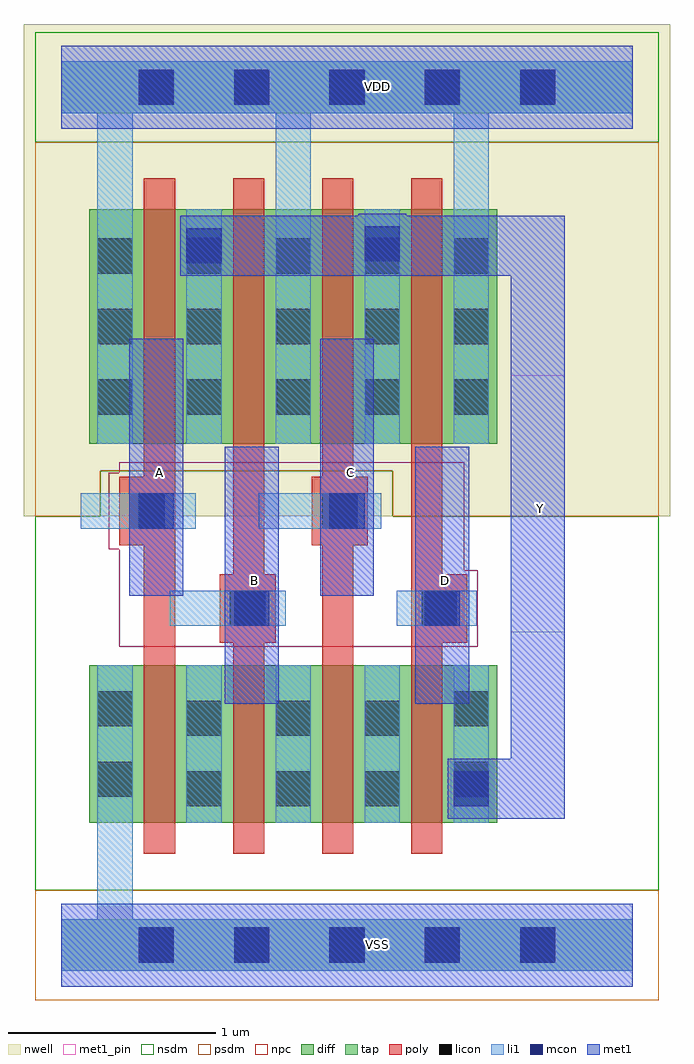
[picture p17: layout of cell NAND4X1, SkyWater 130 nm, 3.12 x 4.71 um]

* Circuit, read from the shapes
.subckt NAND4X1 A B C D VDD VSS Y
XM1 n1 A VSS VSS sky130_fd_pr__nfet_01v8 w=0.76 l=0.15
XM2 n2 B n1 VSS sky130_fd_pr__nfet_01v8 w=0.76 l=0.15
XM3 n3 C n2 VSS sky130_fd_pr__nfet_01v8 w=0.76 l=0.15
XM4 Y D n3 VSS sky130_fd_pr__nfet_01v8 w=0.76 l=0.15
XM5 Y A VDD VDD sky130_fd_pr__pfet_01v8 w=1.13 l=0.15
XM6 VDD B Y VDD sky130_fd_pr__pfet_01v8 w=1.13 l=0.15
XM7 Y C VDD VDD sky130_fd_pr__pfet_01v8 w=1.13 l=0.15
XM8 VDD D Y VDD sky130_fd_pr__pfet_01v8 w=1.13 l=0.15
.ends

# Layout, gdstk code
from math import pi, radians
import gdstk
lib = gdstk.Library(unit=1e-6, precision=1e-09)
def R(c, l, rs):  # rectangles x0, y0, x1, y1
    for r in rs: c.add(gdstk.rectangle(r[:2], r[2:], *l))
def A(c, l, x, y, w, h, nx, ny, dx, dy):  # array of equal rectangles
    R(c, l, [(x+i*dx, y+j*dy, x+i*dx+w, y+j*dy+h) for i in range(nx) for j in range(ny)])
def P(c, l, *ps):  # polygons
    for p in ps: c.add(gdstk.Polygon(p, *l))
nwell = (64, 20)
diff = (65, 20)
tap = (65, 44)
poly = (66, 20)
licon = (66, 44)
li1 = (67, 20)
mcon = (67, 44)
met1_pin = (68, 16)
met1 = (68, 20)
nsdm = (93, 44)
psdm = (94, 20)
npc = (95, 20)

pyl1con_c_cdns_751554744 = lib.new_cell('PYL1CON_C_CDNS_751554744751')
R(pyl1con_c_cdns_751554744, poly, [(-0.135,-0.165,0.135,0.165)])
R(pyl1con_c_cdns_751554744, licon, [(-0.085,-0.085,0.085,0.085)])
R(pyl1con_c_cdns_751554744, npc, [(-0.185,-0.185,0.185,0.185)])

l1m1_c_cdns_751554744750 = lib.new_cell('L1M1_C_CDNS_751554744750$$8')
R(l1m1_c_cdns_751554744750, li1, [(-0.085,-0.165,0.085,0.165)])
R(l1m1_c_cdns_751554744750, mcon, [(-0.085,-0.085,0.085,0.085)])
R(l1m1_c_cdns_751554744750, met1, [(-0.115,-0.145,0.115,0.145)])

c_l1m1_c_cdns_751554744750 = lib.new_cell('L1M1_C_CDNS_751554744750$$9')
R(c_l1m1_c_cdns_751554744750, li1, [(-0.165,-0.085,0.165,0.085)])
R(c_l1m1_c_cdns_751554744750, mcon, [(-0.085,-0.085,0.085,0.085)])
R(c_l1m1_c_cdns_751554744750, met1, [(-0.115,-0.145,0.115,0.145)])

nand4x1 = lib.new_cell('NAND4X1')
R(nand4x1, nwell, [(-0.18,2.07,2.94,4.445)])
R(nand4x1, diff, [(0.135,0.59,2.105,1.35), (0.135,2.42,2.105,3.55)])
A(nand4x1, poly, 0.4, 0.44, 0.15, 3.26, 4, 1, 0.43, 0)
A(nand4x1, licon, 0.375, -0.085, 0.17, 0.17, 5, 2, 0.46, 4.14)
A(nand4x1, licon, 0.605, 0.67, 0.17, 0.17, 3, 2, 0.43, 0.34)
A(nand4x1, licon, 0.175, 2.56, 0.17, 0.17, 5, 3, 0.43, 0.34)
R(nand4x1, licon, [(0.175,0.715,0.345,0.885), (1.895,0.715,2.065,0.885), (0.175,1.055,0.345,1.225), (1.895,1.055,2.065,1.225)])
A(nand4x1, li1, 0.605, 0.59, 0.17, 0.76, 4, 1, 0.43, 0)
R(nand4x1, li1, [(0.605,2.42,0.775,3.55), (1.465,2.42,1.635,3.55)])
P(nand4x1, li1, [(2.76,0.125),(0.345,0.125),(0.345,1.35),(0.175,1.35),(0.175,0.125),(0,0.125),(0,-0.125),(2.76,-0.125)],
  [(2.76,4.265),(0,4.265),(0,4.015),(0.175,4.015),(0.175,2.42),(0.345,2.42),(0.345,4.015),(1.035,4.015),(1.035,2.42),(1.205,2.42),(1.205,4.015),(1.895,4.015),(1.895,2.42),(2.065,2.42),(2.065,4.015),(2.76,4.015)])
A(nand4x1, mcon, 0.375, -0.085, 0.17, 0.17, 5, 2, 0.46, 4.14)
R(nand4x1, met1_pin, [(0.79,1.165,1.05,2.405), (1.71,1.165,1.97,2.405), (2.17,1.51,2.43,2.75), (0.33,1.685,0.59,2.925), (1.25,1.685,1.51,2.925)])
P(nand4x1, met1, [(2.43,3.52),(0.69,3.52),(0.69,3.23),(2.17,3.23),(2.17,0.9),(1.98,0.9),(1.98,0.61),(2.43,0.61)])
R(nand4x1, nsdm, [(-0.125,3.875,2.885,4.405)])
P(nand4x1, nsdm, [(2.885,2.07),(1.6,2.07),(1.6,2.29),(0.19,2.29),(0.19,2.07),(-0.125,2.07),(-0.125,0.265),(2.885,0.265)])
R(nand4x1, psdm, [(-0.125,-0.265,2.885,0.265)])
P(nand4x1, psdm, [(2.885,3.875),(-0.125,3.875),(-0.125,2.07),(0.19,2.07),(0.19,2.29),(1.6,2.29),(1.6,2.07),(2.885,2.07)])
R(nand4x1, npc, [(0.28,1.44,1.945,2.33)])
nand4x1.add(gdstk.FlexPath([(0.095,2.095),(0.65,2.095)], 0.17, ends="flush", simple_path=True, layer=67, datatype=20))  # li1
nand4x1.add(gdstk.FlexPath([(0.955,2.095),(1.51,2.095)], 0.17, ends="flush", simple_path=True, layer=67, datatype=20))  # li1
nand4x1.add(gdstk.FlexPath([(0.525,1.625),(1.08,1.625)], 0.17, ends="flush", simple_path=True, layer=67, datatype=20))  # li1
nand4x1.add(gdstk.FlexPath([(1.62,1.625),(1.94,1.625)], 0.17, ends="flush", simple_path=True, layer=67, datatype=20))  # li1
nand4x1.add(gdstk.FlexPath([(0,4.14),(2.76,4.14)], 0.25, ends="flush", simple_path=True, layer=65, datatype=44))  # tap
nand4x1.add(gdstk.FlexPath([(0,0),(2.76,0)], 0.25, ends="flush", simple_path=True, layer=65, datatype=44))  # tap
nand4x1.add(gdstk.FlexPath([(1.84,1.165),(1.84,2.405)], 0.26, ends="flush", simple_path=True, layer=68, datatype=20))  # met1
nand4x1.add(gdstk.FlexPath([(0.46,1.685),(0.46,2.925)], 0.26, ends="flush", simple_path=True, layer=68, datatype=20))  # met1
nand4x1.add(gdstk.FlexPath([(0.92,1.165),(0.92,2.405)], 0.26, ends="flush", simple_path=True, layer=68, datatype=20))  # met1
nand4x1.add(gdstk.FlexPath([(1.38,1.685),(1.38,2.925)], 0.26, ends="flush", simple_path=True, layer=68, datatype=20))  # met1
nand4x1.add(gdstk.FlexPath([(0,4.14),(2.76,4.14)], 0.4, ends="flush", simple_path=True, layer=68, datatype=20))  # met1
nand4x1.add(gdstk.FlexPath([(0,0),(2.76,0)], 0.4, ends="flush", simple_path=True, layer=68, datatype=20))  # met1
nand4x1.add(gdstk.FlexPath([(0,0),(2.76,0)], 0.4, ends="flush", simple_path=True, layer=68, datatype=16))  # met1_pin
nand4x1.add(gdstk.FlexPath([(0,4.14),(2.76,4.14)], 0.4, ends="flush", simple_path=True, layer=68, datatype=16))  # met1_pin
nand4x1.add(gdstk.Reference(pyl1con_c_cdns_751554744, (0.415,2.095), rotation=pi, x_reflection=True))
nand4x1.add(gdstk.Reference(pyl1con_c_cdns_751554744, (0.9,1.625)))
nand4x1.add(gdstk.Reference(pyl1con_c_cdns_751554744, (1.345,2.095)))
nand4x1.add(gdstk.Reference(pyl1con_c_cdns_751554744, (1.825,1.625)))
nand4x1.add(gdstk.Reference(l1m1_c_cdns_751554744750, (0.69,3.375)))
nand4x1.add(gdstk.Reference(l1m1_c_cdns_751554744750, (1.55,3.385)))
nand4x1.add(gdstk.Reference(l1m1_c_cdns_751554744750, (1.98,0.755)))
nand4x1.add(gdstk.Reference(c_l1m1_c_cdns_751554744750, (0.46,2.095), x_reflection=True))
nand4x1.add(gdstk.Reference(c_l1m1_c_cdns_751554744750, (0.92,1.625), x_reflection=True))
nand4x1.add(gdstk.Reference(c_l1m1_c_cdns_751554744750, (1.38,2.095), x_reflection=True))
nand4x1.add(gdstk.Reference(c_l1m1_c_cdns_751554744750, (1.84,1.625), x_reflection=True))
nand4x1.add(gdstk.Label('D', (1.855,1.76), layer=68, texttype=5))
nand4x1.add(gdstk.Label('B', (0.935,1.76), layer=68, texttype=5))
nand4x1.add(gdstk.Label('C', (1.395,2.28), layer=68, texttype=5))
nand4x1.add(gdstk.Label('A', (0.475,2.28), layer=68, texttype=5))
nand4x1.add(gdstk.Label('Y', (2.315,2.105), layer=68, texttype=5))
nand4x1.add(gdstk.Label('VDD', (1.525,4.145), layer=68, texttype=5))
nand4x1.add(gdstk.Label('VDD', (1.525,4.145), layer=68, texttype=5))
nand4x1.add(gdstk.Label('VSS', (1.525,0.005), layer=68, texttype=5))

lib.write_gds('NAND4X1.gds')
